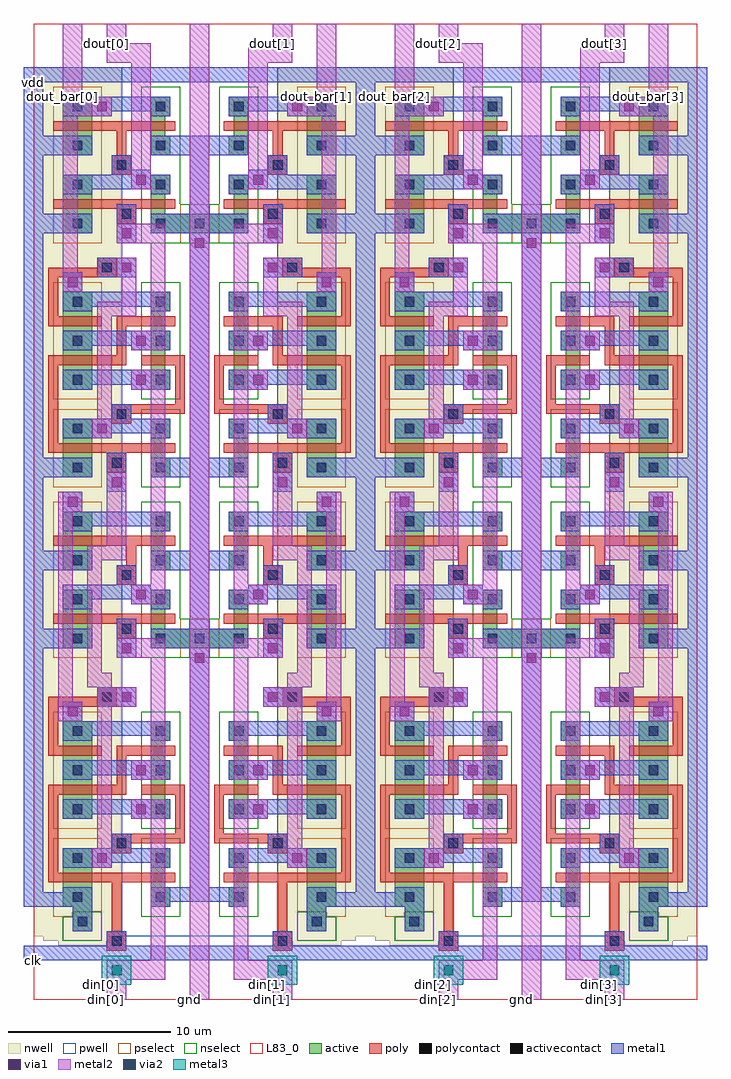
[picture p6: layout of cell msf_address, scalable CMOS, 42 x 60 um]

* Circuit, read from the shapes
.subckt msf_address clk din[0] din[1] din[2] din[3] dout[0] dout[1] dout[2] dout[3] dout_bar[0] dout_bar[1] dout_bar[2] dout_bar[3] gnd vdd
M1 n1 clk gnd gnd nfet w=0.9u l=0.6u
M2 n2 n1 din[0] gnd nfet w=0.9u l=0.6u
M3 n3 clk n2 gnd nfet w=0.9u l=0.6u
M4 n4 n2 gnd gnd nfet w=0.9u l=0.6u
M5 n3 n4 gnd gnd nfet w=0.9u l=0.6u
M6 n5 n1 gnd gnd nfet w=0.9u l=0.6u
M7 n6 n5 n4 gnd nfet w=0.9u l=0.6u
M8 dout_bar[0] n1 n6 gnd nfet w=0.9u l=0.6u
M9 dout[0] n6 gnd gnd nfet w=0.9u l=0.6u
M10 dout_bar[0] dout[0] gnd gnd nfet w=0.9u l=0.6u
M11 n7 clk gnd gnd nfet w=0.9u l=0.6u
M12 n8 n7 din[1] gnd nfet w=0.9u l=0.6u
M13 n9 clk n8 gnd nfet w=0.9u l=0.6u
M14 n10 n8 gnd gnd nfet w=0.9u l=0.6u
M15 n9 n10 gnd gnd nfet w=0.9u l=0.6u
M16 n11 n7 gnd gnd nfet w=0.9u l=0.6u
M17 n12 n11 n10 gnd nfet w=0.9u l=0.6u
M18 dout_bar[1] n7 n12 gnd nfet w=0.9u l=0.6u
M19 dout[1] n12 gnd gnd nfet w=0.9u l=0.6u
M20 dout_bar[1] dout[1] gnd gnd nfet w=0.9u l=0.6u
M21 n13 clk gnd gnd nfet w=0.9u l=0.6u
M22 n14 n13 din[2] gnd nfet w=0.9u l=0.6u
M23 n15 clk n14 gnd nfet w=0.9u l=0.6u
M24 n16 n14 gnd gnd nfet w=0.9u l=0.6u
M25 n15 n16 gnd gnd nfet w=0.9u l=0.6u
M26 n17 n13 gnd gnd nfet w=0.9u l=0.6u
M27 n18 n17 n16 gnd nfet w=0.9u l=0.6u
M28 dout_bar[2] n13 n18 gnd nfet w=0.9u l=0.6u
M29 dout[2] n18 gnd gnd nfet w=0.9u l=0.6u
M30 dout_bar[2] dout[2] gnd gnd nfet w=0.9u l=0.6u
M31 n19 clk gnd gnd nfet w=0.9u l=0.6u
M32 n20 n19 din[3] gnd nfet w=0.9u l=0.6u
M33 n21 clk n20 gnd nfet w=0.9u l=0.6u
M34 n22 n20 gnd gnd nfet w=0.9u l=0.6u
M35 n21 n22 gnd gnd nfet w=0.9u l=0.6u
M36 n23 n19 gnd gnd nfet w=0.9u l=0.6u
M37 n24 n23 n22 gnd nfet w=0.9u l=0.6u
M38 dout_bar[3] n19 n24 gnd nfet w=0.9u l=0.6u
M39 dout[3] n24 gnd gnd nfet w=0.9u l=0.6u
M40 dout_bar[3] dout[3] gnd gnd nfet w=0.9u l=0.6u
M41 n1 clk vdd vdd pfet w=1.8u l=0.6u
M42 n2 clk din[0] vdd pfet w=1.8u l=0.6u
M43 n3 n1 n2 vdd pfet w=1.8u l=0.6u
M44 n4 n2 vdd vdd pfet w=1.8u l=0.6u
M45 n3 n4 vdd vdd pfet w=1.8u l=0.6u
M46 n5 n1 vdd vdd pfet w=1.8u l=0.6u
M47 n6 n1 n4 vdd pfet w=1.8u l=0.6u
M48 dout_bar[0] n5 n6 vdd pfet w=1.8u l=0.6u
M49 dout[0] n6 vdd vdd pfet w=1.8u l=0.6u
M50 dout_bar[0] dout[0] vdd vdd pfet w=1.8u l=0.6u
M51 n7 clk vdd vdd pfet w=1.8u l=0.6u
M52 n8 clk din[1] vdd pfet w=1.8u l=0.6u
M53 n9 n7 n8 vdd pfet w=1.8u l=0.6u
M54 n10 n8 vdd vdd pfet w=1.8u l=0.6u
M55 n9 n10 vdd vdd pfet w=1.8u l=0.6u
M56 n11 n7 vdd vdd pfet w=1.8u l=0.6u
M57 n12 n7 n10 vdd pfet w=1.8u l=0.6u
M58 dout_bar[1] n11 n12 vdd pfet w=1.8u l=0.6u
M59 dout[1] n12 vdd vdd pfet w=1.8u l=0.6u
M60 dout_bar[1] dout[1] vdd vdd pfet w=1.8u l=0.6u
M61 n13 clk vdd vdd pfet w=1.8u l=0.6u
M62 n14 clk din[2] vdd pfet w=1.8u l=0.6u
M63 n15 n13 n14 vdd pfet w=1.8u l=0.6u
M64 n16 n14 vdd vdd pfet w=1.8u l=0.6u
M65 n15 n16 vdd vdd pfet w=1.8u l=0.6u
M66 n17 n13 vdd vdd pfet w=1.8u l=0.6u
M67 n18 n13 n16 vdd pfet w=1.8u l=0.6u
M68 dout_bar[2] n17 n18 vdd pfet w=1.8u l=0.6u
M69 dout[2] n18 vdd vdd pfet w=1.8u l=0.6u
M70 dout_bar[2] dout[2] vdd vdd pfet w=1.8u l=0.6u
M71 n19 clk vdd vdd pfet w=1.8u l=0.6u
M72 n20 clk din[3] vdd pfet w=1.8u l=0.6u
M73 n21 n19 n20 vdd pfet w=1.8u l=0.6u
M74 n22 n20 vdd vdd pfet w=1.8u l=0.6u
M75 n21 n22 vdd vdd pfet w=1.8u l=0.6u
M76 n23 n19 vdd vdd pfet w=1.8u l=0.6u
M77 n24 n19 n22 vdd pfet w=1.8u l=0.6u
M78 dout_bar[3] n23 n24 vdd pfet w=1.8u l=0.6u
M79 dout[3] n24 vdd vdd pfet w=1.8u l=0.6u
M80 dout_bar[3] dout[3] vdd vdd pfet w=1.8u l=0.6u
.ends

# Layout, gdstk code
from math import pi, radians
import gdstk
lib = gdstk.Library(unit=1e-6, precision=1e-09)
def R(c, l, rs):  # rectangles x0, y0, x1, y1
    for r in rs: c.add(gdstk.rectangle(r[:2], r[2:], *l))
def A(c, l, x, y, w, h, nx, ny, dx, dy):  # array of equal rectangles
    R(c, l, [(x+i*dx, y+j*dy, x+i*dx+w, y+j*dy+h) for i in range(nx) for j in range(ny)])
pwell = (41, 0)
nwell = (42, 0)
active = (43, 0)
pselect = (44, 0)
nselect = (45, 0)
poly = (46, 0)
polycontact = (47, 0)
activecontact = (48, 0)
metal1 = (49, 0)
via1 = (50, 0)
metal2 = (51, 0)
via2 = (61, 0)
metal3 = (62, 0)
L83_0 = (83, 0)

ms_flop = lib.new_cell('ms_flop')
R(ms_flop, pwell, [(5.4,3.9,10.2,19.8), (5.4,19.8,11.4,20.7), (5.4,20.7,11.7,23.7), (5.4,23.7,11.4,24.6), (5.4,24.6,10.2,45.3), (5.4,45.3,11.4,46.2), (5.4,46.2,11.7,49.2), (5.4,49.2,11.4,50.1), (5.4,50.1,10.2,57.3)])
R(ms_flop, nwell, [(1.5,3.3,4.5,3.6), (0.6,3.6,5.4,3.9), (0,3.9,5.4,57.3)])
A(ms_flop, active, 7.2, 11.1, 1.2, 1.2, 1, 3, 0, 2.4)
A(ms_flop, active, 7.2, 24, 1.2, 1.2, 1, 3, 0, 2.4)
A(ms_flop, active, 7.2, 37.5, 1.2, 1.2, 1, 3, 0, 2.4)
A(ms_flop, active, 7.2, 49.5, 1.2, 1.2, 1, 3, 0, 2.4)
R(ms_flop, active, [(2.4,4.2,3.6,5.7), (1.8,5.7,3.6,9.3), (7.2,5.7,8.4,6.9), (7.2,6.9,8.1,8.1), (7.2,8.1,8.4,9.3), (1.8,11.1,3.6,17.1), (7.2,12.3,8.1,13.5), (7.2,14.7,8.1,15.9), (1.8,21.6,3.6,25.2), (7.2,21.6,10.8,22.8), (7.2,22.8,8.1,24), (1.8,26.4,3.6,30), (7.2,27.6,8.1,28.8), (1.8,32.1,3.6,35.7), (7.2,32.1,8.4,33.3), (7.2,33.3,8.1,34.5), (7.2,34.5,8.4,35.7), (1.8,37.5,3.6,43.5), (7.2,38.7,8.1,39.9), (7.2,41.1,8.1,42.3), (1.8,47.1,3.6,50.7), (7.2,47.1,10.8,48.3), (7.2,48.3,8.1,49.5), (1.8,51.9,3.6,55.5), (7.2,53.1,8.1,54.3)])
R(ms_flop, pselect, [(1.2,5.1,2.4,5.4), (1.2,5.4,4.2,9.9), (1.2,10.5,4.2,17.7), (1.2,21,4.2,30.6), (9.6,21,11.4,23.4), (1.2,31.5,4.2,36.3), (1.2,36.9,4.2,44.1), (1.2,46.5,4.2,56.1), (9.6,46.5,11.4,48.9)])
R(ms_flop, nselect, [(1.8,3.6,4.2,5.1), (2.4,5.1,4.2,5.4), (6.6,5.1,9,9.9), (6.6,10.5,9,17.7), (6.6,21,9.6,23.4), (6.6,23.4,9,30.6), (6.6,31.5,9,36.3), (6.6,36.9,9,44.1), (6.6,46.5,9.6,48.9), (6.6,48.9,9,56.1)])
R(ms_flop, poly, [(4.5,3,5.7,4.2), (4.8,4.2,5.4,7.2), (0.9,7.2,8.7,7.8), (0.9,7.8,1.5,12.6), (4.8,9,6,9.6), (4.8,9.6,9.3,10.2), (8.7,10.2,9.3,12.6), (0.9,12.6,5.7,13.2), (6.6,12.6,9.3,13.2), (5.1,13.2,5.7,15), (0.9,15,4.2,15.6), (5.1,15,8.7,15.6), (0.9,15.6,1.5,18), (0.9,18,5.1,18.6), (3.9,18.6,5.1,19.2), (5.1,22.2,6.3,23.1), (1.2,23.1,8.7,23.7), (5.1,25.5,6.3,26.7), (5.7,26.7,6.3,27.9), (1.2,27.9,8.7,28.5), (4.5,32.4,5.7,33.6), (0.9,33.6,8.7,34.2), (0.9,34.2,1.5,39), (4.8,35.4,6,36), (4.8,36,9.3,36.6), (8.7,36.6,9.3,39), (0.9,39,5.7,39.6), (6.6,39,9.3,39.6), (5.1,39.6,5.7,41.4), (0.9,41.4,4.2,42), (5.1,41.4,8.7,42), (0.9,42,1.5,44.4), (0.9,44.4,5.1,45), (3.9,45,5.1,45.6), (5.1,47.7,6.3,48.6), (1.2,48.6,8.7,49.2), (4.8,50.7,6,51.9), (5.1,51.9,5.7,53.4), (1.2,53.4,8.7,54)])
R(ms_flop, polycontact, [(4.8,3.3,5.4,3.9), (5.1,9.3,5.7,9.9), (4.2,18.3,4.8,18.9), (5.4,22.5,6,23.1), (5.4,25.8,6,26.4), (4.8,32.7,5.4,33.3), (5.1,35.7,5.7,36.3), (4.2,44.7,4.8,45.3), (5.4,48,6,48.6), (5.1,51,5.7,51.6)])
A(ms_flop, activecontact, 2.4, 11.4, 0.6, 0.6, 1, 3, 0, 2.4)
A(ms_flop, activecontact, 7.5, 11.4, 0.6, 0.6, 1, 3, 0, 2.4)
A(ms_flop, activecontact, 2.4, 21.9, 0.6, 0.6, 1, 4, 0, 2.4)
A(ms_flop, activecontact, 7.5, 21.9, 0.6, 0.6, 1, 4, 0, 2.4)
A(ms_flop, activecontact, 2.4, 37.8, 0.6, 0.6, 1, 3, 0, 2.4)
A(ms_flop, activecontact, 7.5, 37.8, 0.6, 0.6, 1, 3, 0, 2.4)
A(ms_flop, activecontact, 2.4, 47.4, 0.6, 0.6, 1, 4, 0, 2.4)
A(ms_flop, activecontact, 7.5, 47.4, 0.6, 0.6, 1, 4, 0, 2.4)
R(ms_flop, activecontact, [(2.7,4.5,3.3,5.1), (2.4,6,3,6.6), (7.5,6,8.1,6.6), (2.4,8.4,3,9), (7.5,8.4,8.1,9), (9.9,21.9,10.5,22.5), (2.4,32.4,3,33), (7.5,32.4,8.1,33), (2.4,34.8,3,35.4), (7.5,34.8,8.1,35.4), (9.9,47.4,10.5,48)])
A(ms_flop, metal1, 1.8, 11.1, 1.8, 0.3, 1, 3, 0, 2.4)
A(ms_flop, metal1, 1.8, 11.4, 6.6, 0.9, 1, 3, 0, 2.4)
A(ms_flop, metal1, 1.8, 37.5, 1.8, 0.3, 1, 3, 0, 2.4)
A(ms_flop, metal1, 1.8, 37.8, 6.6, 0.9, 1, 3, 0, 2.4)
R(ms_flop, metal1, [(-0.6,2.4,10.8,3.3), (-0.6,2.4,10.8,3.3), (4.5,3.3,5.7,4.2), (2.4,4.2,3.6,5.7), (-0.6,5.7,3.6,6.6), (7.2,5.7,8.4,6), (7.2,6,10.8,6.9), (-0.6,6.6,0.6,21.6), (1.8,6.6,3.6,6.9), (9.9,6.9,10.8,20.4), (1.8,8.1,4.8,8.4), (7.2,8.1,8.4,8.4), (1.8,8.4,8.4,9.3), (4.8,9.3,6,10.2), (6,11.1,8.4,11.4), (6,13.5,8.4,13.8), (7.2,15.9,8.4,16.2), (1.8,17.1,3,18.3), (3.9,18,6.3,19.2), (9.6,20.4,10.8,21.6), (5.1,21,6.3,23.4), (-0.6,21.6,3.6,22.8), (7.2,21.6,10.8,22.8), (-0.6,22.8,0.6,26.4), (9.9,22.8,10.8,26.4), (1.8,24,3.6,24.6), (7.2,24,8.4,24.3), (6,24.3,8.4,24.6), (1.8,24.6,8.4,25.2), (1.8,25.2,7.2,25.5), (5.1,25.5,6.3,26.7), (-0.6,26.4,3.6,27.6), (7.2,26.4,10.8,27.6), (-0.6,27.6,0.6,32.1), (9.9,27.6,10.8,32.1), (1.8,28.8,3.6,29.1), (7.2,28.8,8.4,29.1), (1.8,29.1,8.4,30), (1.8,30,3,31.2), (4.5,31.2,5.7,33.6), (-0.6,32.1,3.6,33.3), (7.2,32.1,10.8,33.3), (-0.6,33.3,0.6,47.1), (9.9,33.3,10.8,45.9), (1.8,34.5,4.8,34.8), (7.2,34.5,8.4,34.8), (1.8,34.8,8.4,35.7), (4.8,35.7,6,36.6), (6,37.5,8.4,37.8), (6,39.9,8.4,40.2), (7.2,42.3,8.4,42.6), (1.8,43.5,3,44.7), (3.9,44.4,6.3,45.6), (9.6,45.9,10.8,47.1), (5.1,46.5,6.3,48.9), (-0.6,47.1,3.6,48.3), (7.2,47.1,10.8,48.3), (-0.6,48.3,0.6,51.9), (9.9,48.3,10.8,51.9), (1.8,49.5,3.6,49.8), (7.2,49.5,8.4,49.8), (1.8,49.8,8.4,50.7), (4.8,50.7,7.2,51), (4.8,51,6,51.9), (-0.6,51.9,3.6,53.1), (7.2,51.9,10.8,53.1), (-0.6,53.1,0.6,56.4), (1.8,54.3,4.8,54.6), (7.2,54.3,8.4,54.6), (1.8,54.6,8.4,55.5), (-0.6,56.4,10.8,57.3), (-0.6,56.4,10.8,57.3)])
R(ms_flop, via1, [(3.9,8.4,4.5,9), (6.3,11.4,6.9,12), (6.3,13.8,6.9,14.4), (2.1,17.4,2.7,18), (5.4,18.3,6,18.9), (9.9,20.7,10.5,21.3), (5.4,21.3,6,21.9), (6.3,24.6,6.9,25.2), (2.1,30.3,2.7,30.9), (4.8,31.5,5.4,32.1), (3.9,34.8,4.5,35.4), (6.3,37.8,6.9,38.4), (6.3,40.2,6.9,40.8), (2.1,43.8,2.7,44.4), (5.4,44.7,6,45.3), (9.9,46.2,10.5,46.8), (5.4,46.8,6,47.4), (6.3,50.1,6.9,50.7), (3.9,54.6,4.5,55.2)])
R(ms_flop, metal2, [(4.5,0,5.7,1.2), (4.5,0,5.7,1.2), (9.6,0,10.8,60), (9.6,0,10.8,60), (4.5,1.2,8.1,2.4), (7.2,2.4,8.1,11.1), (3.6,8.1,4.8,9.3), (3.9,9.3,4.8,18), (6,11.1,8.1,12.3), (6,13.5,8.1,14.7), (7.2,14.7,8.1,21), (1.5,17.1,3,18.3), (3.9,18,6.3,19.2), (1.5,18.3,2.4,30), (3.3,19.2,4.8,20.1), (3.3,20.1,4.2,27), (5.1,21,8.1,22.2), (6,24.3,8.1,25.5), (7.2,25.5,8.1,37.5), (3.3,27,5.7,27.9), (4.5,27.9,5.7,32.4), (1.5,30,3,31.2), (3.6,34.5,4.8,35.7), (3.9,35.7,4.8,42), (6,37.5,8.1,38.7), (6,39.9,8.1,41.1), (7.2,41.1,8.1,46.5), (3.9,42,6.3,42.9), (5.4,42.9,6.3,44.4), (1.8,43.5,3,44.7), (5.1,44.4,6.3,45.6), (1.8,44.7,2.7,54.3), (5.1,46.5,8.1,47.7), (6,49.8,7.2,57.6), (1.8,54.3,4.8,55.5), (1.8,55.5,3,60), (1.8,55.5,3,60), (4.5,57.6,7.2,58.8), (4.5,58.8,5.7,60), (4.5,58.8,5.7,60)])
R(ms_flop, via2, [(4.8,1.5,5.4,2.1)])
R(ms_flop, metal3, [(4.2,0.9,6,2.7), (4.2,0.9,6,2.7)])
R(ms_flop, L83_0, [(0,0,10.2,60)])
ms_flop.add(gdstk.Label('clk', (0,2.4), layer=49, texttype=0))
ms_flop.add(gdstk.Label('vdd', (-0.6,57.3), layer=49, texttype=0))
ms_flop.add(gdstk.Label('din', (4.8,0.34), layer=51, texttype=0))
ms_flop.add(gdstk.Label('dout_bar', (1.8,58.8), layer=51, texttype=0))
ms_flop.add(gdstk.Label('dout', (4.5,59.775), layer=51, texttype=0))
ms_flop.add(gdstk.Label('gnd', (9.6,0), layer=51, texttype=0))
ms_flop.add(gdstk.Label('din', (4.5,1.2), layer=62, texttype=0))
ms_flop.add(gdstk.Label('din', (4.5,0), layer=51, texttype=0))
ms_flop.add(gdstk.Label('din', (4.2,0.9), layer=62, texttype=0))
ms_flop.add(gdstk.Label('dout', (4.5,58.8), layer=51, texttype=0))
ms_flop.add(gdstk.Label('clk', (-0.6,2.4), layer=49, texttype=0))
ms_flop.add(gdstk.Label('dout_bar', (1.8,55.5), layer=51, texttype=0))
ms_flop.add(gdstk.Label('vdd', (-0.6,56.4), layer=49, texttype=0))
ms_flop.add(gdstk.Label('gnd', (9.6,0), layer=51, texttype=0))

msf_address = lib.new_cell('msf_address')
R(msf_address, metal1, [(0,2.4,40.8,3.3), (0,56.4,40.8,57.3)])
A(msf_address, metal2, 4.5, 0, 1.2, 1.2, 4, 2, 10.2, 58.8)
R(msf_address, metal2, [(9.6,0,10.8,60), (30,0,31.2,60), (1.8,55.5,3,60), (17.4,55.5,18.6,60), (22.2,55.5,23.4,60), (37.8,55.5,39,60)])
A(msf_address, metal3, 4.2, 0.9, 1.8, 1.8, 4, 1, 10.2, 0)
msf_address.add(gdstk.Reference(ms_flop, (0,0)))
msf_address.add(gdstk.Reference(ms_flop, (20.4,0), rotation=pi, x_reflection=True))
msf_address.add(gdstk.Reference(ms_flop, (20.4,0)))
msf_address.add(gdstk.Reference(ms_flop, (40.8,0), rotation=pi, x_reflection=True))
msf_address.add(gdstk.Label('clk', (0,2.4), layer=49, texttype=0))
msf_address.add(gdstk.Label('dout_bar[1]', (17.4,55.5), layer=51, texttype=0))
msf_address.add(gdstk.Label('din[3]', (35.1,0), layer=51, texttype=0))
msf_address.add(gdstk.Label('din[3]', (34.8,0.9), layer=62, texttype=0))
msf_address.add(gdstk.Label('dout_bar[2]', (22.2,55.5), layer=51, texttype=0))
msf_address.add(gdstk.Label('dout_bar[3]', (37.8,55.5), layer=51, texttype=0))
msf_address.add(gdstk.Label('din[1]', (14.7,0), layer=51, texttype=0))
msf_address.add(gdstk.Label('din[1]', (14.4,0.9), layer=62, texttype=0))
msf_address.add(gdstk.Label('din[0]', (4.5,0), layer=51, texttype=0))
msf_address.add(gdstk.Label('din[0]', (4.2,0.9), layer=62, texttype=0))
msf_address.add(gdstk.Label('din[2]', (24.9,0), layer=51, texttype=0))
msf_address.add(gdstk.Label('din[2]', (24.6,0.9), layer=62, texttype=0))
msf_address.add(gdstk.Label('gnd', (9.6,0), layer=51, texttype=0))
msf_address.add(gdstk.Label('gnd', (30,0), layer=51, texttype=0))
msf_address.add(gdstk.Label('dout_bar[0]', (1.8,55.5), layer=51, texttype=0))
msf_address.add(gdstk.Label('dout[0]', (4.5,58.8), layer=51, texttype=0))
msf_address.add(gdstk.Label('dout[1]', (14.7,58.8), layer=51, texttype=0))
msf_address.add(gdstk.Label('dout[3]', (35.1,58.8), layer=51, texttype=0))
msf_address.add(gdstk.Label('dout[2]', (24.9,58.8), layer=51, texttype=0))
msf_address.add(gdstk.Label('vdd', (0,56.4), layer=49, texttype=0))

lib.write_gds('msf_address.gds')
